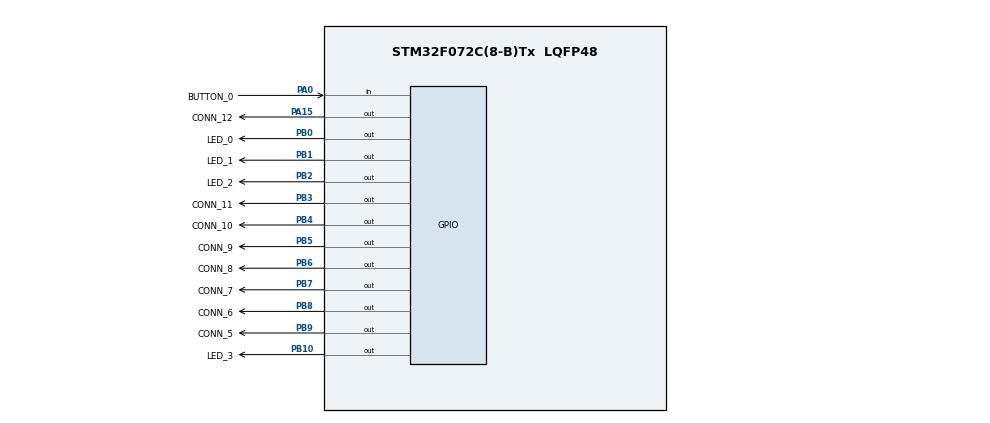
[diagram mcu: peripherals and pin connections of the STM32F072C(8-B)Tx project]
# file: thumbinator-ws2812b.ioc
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Mcu.Family=STM32F0
Mcu.Name=STM32F072C(8-B)Tx
Mcu.Package=LQFP48
PA0.GPIO_Label=BUTTON_0
PA0.GPIO_PuPd=GPIO_PULLUP
PA0.Signal=GPIO_Input
PA13.Mode=Serial_Wire
PA13.Signal=SYS_SWDIO
PA14.Mode=Serial_Wire
PA14.Signal=SYS_SWCLK
PA15.GPIO_Label=CONN_12
PA15.Signal=GPIO_Output
PB0.GPIO_Label=LED_0
PB0.Signal=GPIO_Output
PB1.GPIO_Label=LED_1
PB1.Signal=GPIO_Output
PB10.GPIO_Label=LED_3
PB10.Signal=GPIO_Output
PB2.GPIO_Label=LED_2
PB2.Signal=GPIO_Output
PB3.GPIO_Label=CONN_11
PB3.Signal=GPIO_Output
PB4.GPIO_Label=CONN_10
PB4.Signal=GPIO_Output
PB5.GPIO_Label=CONN_9
PB5.Signal=GPIO_Output
PB6.GPIO_Label=CONN_8
PB6.Signal=GPIO_Output
PB7.GPIO_Label=CONN_7
PB7.Signal=GPIO_Output
PB8.GPIO_Label=CONN_6
PB8.Signal=GPIO_Output
PB9.GPIO_Label=CONN_5
PB9.Signal=GPIO_Output
ProjectManager.HeapSize=0x200
ProjectManager.StackSize=0x400
ProjectManager.TargetToolchain=SW4STM32
board=thumbinator-ws2812b

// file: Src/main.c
/**
  ******************************************************************************
  * File Name          : main.c
  * Description        : Main program body
  ******************************************************************************
  ** This notice applies to any and all portions of this file
  * that are not between comment pairs USER CODE BEGIN and
  * USER CODE END. Other portions of this file, whether
  * inserted by the user or by software development tools
  * are owned by their respective copyright owners.
  *
  * COPYRIGHT(c) 2017 STMicroelectronics
  *
  * Redistribution and use in source and binary forms, with or without modification,
  * are permitted provided that the following conditions are met:
  *   1. Redistributions of source code must retain the above copyright notice,
  *      this list of conditions and the following disclaimer.
  *   2. Redistributions in binary form must reproduce the above copyright notice,
  *      this list of conditions and the following disclaimer in the documentation
  *      and/or other materials provided with the distribution.
  *   3. Neither the name of STMicroelectronics nor the names of its contributors
  *      may be used to endorse or promote products derived from this software
  *      without specific prior written permission.
  *
  * THIS SOFTWARE IS PROVIDED BY THE COPYRIGHT HOLDERS AND CONTRIBUTORS "AS IS"
  * AND ANY EXPRESS OR IMPLIED WARRANTIES, INCLUDING, BUT NOT LIMITED TO, THE
  * IMPLIED WARRANTIES OF MERCHANTABILITY AND FITNESS FOR A PARTICULAR PURPOSE ARE
  * DISCLAIMED. IN NO EVENT SHALL THE COPYRIGHT HOLDER OR CONTRIBUTORS BE LIABLE
  * FOR ANY DIRECT, INDIRECT, INCIDENTAL, SPECIAL, EXEMPLARY, OR CONSEQUENTIAL
  * DAMAGES (INCLUDING, BUT NOT LIMITED TO, PROCUREMENT OF SUBSTITUTE GOODS OR
  * SERVICES; LOSS OF USE, DATA, OR PROFITS; OR BUSINESS INTERRUPTION) HOWEVER
  * CAUSED AND ON ANY THEORY OF LIABILITY, WHETHER IN CONTRACT, STRICT LIABILITY,
  * OR TORT (INCLUDING NEGLIGENCE OR OTHERWISE) ARISING IN ANY WAY OUT OF THE USE
  * OF THIS SOFTWARE, EVEN IF ADVISED OF THE POSSIBILITY OF SUCH DAMAGE.
  *
  ******************************************************************************
  */
#include "main.h"
#include "stm32f0xx_hal.h"

/* USER CODE BEGIN Includes */
#include <stdbool.h>
#include <stdint.h>

#include "gpio_fast.h"
#include "effect.h"

/* USER CODE END Includes */

/* USER CODE BEGIN PV */
/* Private variables ---------------------------------------------------------*/

/* USER CODE END PV */

void SystemClock_Config(void);
static void MX_GPIO_Init(void);

/* USER CODE BEGIN PFP */
/* Private function prototypes -----------------------------------------------*/

/* USER CODE END PFP */

/* USER CODE BEGIN 0 */

static void next_led(void) {
  static int i = 0;
  i = (i + 1) % 16;
  HAL_GPIO_WritePin(LED_0_GPIO_Port, LED_0_Pin, (i & 1) ? GPIO_PIN_SET : GPIO_PIN_RESET);
  HAL_GPIO_WritePin(LED_1_GPIO_Port, LED_1_Pin, (i & 2) ? GPIO_PIN_SET : GPIO_PIN_RESET);
  HAL_GPIO_WritePin(LED_2_GPIO_Port, LED_2_Pin, (i & 4) ? GPIO_PIN_SET : GPIO_PIN_RESET);
}

/* USER CODE END 0 */

int main(void)
{

  /* MCU Configuration----------------------------------------------------------*/

  /* Reset of all peripherals, Initializes the Flash interface and the Systck. */
  HAL_Init();

  /* Configure the system clock */
  SystemClock_Config();

  /* Initialize all configured peripherals */
  MX_GPIO_Init();

  /* Infinite loop */
  /* USER CODE BEGIN WHILE */

  static uint32_t t = 0;
  while (1)
  {
  /* USER CODE END WHILE */

  /* USER CODE BEGIN 3 */
    t++;
    next_led();
    effect_show(t);

    if (t % 1000 == 0)
      effect_next();

  }
  /* USER CODE END 3 */

}

/** System Clock Configuration
*/
void SystemClock_Config(void)
{

  RCC_OscInitTypeDef RCC_OscInitStruct;
  RCC_ClkInitTypeDef RCC_ClkInitStruct;

    /**Initializes the CPU, AHB and APB busses clocks
    */
  RCC_OscInitStruct.OscillatorType = RCC_OSCILLATORTYPE_HSI48;
  RCC_OscInitStruct.HSI48State = RCC_HSI48_ON;
  RCC_OscInitStruct.PLL.PLLState = RCC_PLL_NONE;
  if (HAL_RCC_OscConfig(&RCC_OscInitStruct) != HAL_OK)
  {
    _Error_Handler(__FILE__, __LINE__);
  }

    /**Initializes the CPU, AHB and APB busses clocks
    */
  RCC_ClkInitStruct.ClockType = RCC_CLOCKTYPE_HCLK|RCC_CLOCKTYPE_SYSCLK
                              |RCC_CLOCKTYPE_PCLK1;
  RCC_ClkInitStruct.SYSCLKSource = RCC_SYSCLKSOURCE_HSI48;
  RCC_ClkInitStruct.AHBCLKDivider = RCC_SYSCLK_DIV1;
  RCC_ClkInitStruct.APB1CLKDivider = RCC_HCLK_DIV1;

  if (HAL_RCC_ClockConfig(&RCC_ClkInitStruct, FLASH_LATENCY_1) != HAL_OK)
  {
    _Error_Handler(__FILE__, __LINE__);
  }

    /**Configure the Systick interrupt time
    */
  HAL_SYSTICK_Config(HAL_RCC_GetHCLKFreq()/1000);

    /**Configure the Systick
    */
  HAL_SYSTICK_CLKSourceConfig(SYSTICK_CLKSOURCE_HCLK);

  /* SysTick_IRQn interrupt configuration */
  HAL_NVIC_SetPriority(SysTick_IRQn, 0, 0);
}

/** Configure pins as
        * Analog
        * Input
        * Output
        * EVENT_OUT
        * EXTI
*/
static void MX_GPIO_Init(void)
{

  GPIO_InitTypeDef GPIO_InitStruct;

  /* GPIO Ports Clock Enable */
  __HAL_RCC_GPIOA_CLK_ENABLE();
  __HAL_RCC_GPIOB_CLK_ENABLE();

  /*Configure GPIO pin Output Level */
  HAL_GPIO_WritePin(GPIOB, LED_0_Pin|LED_1_Pin|LED_2_Pin|LED_3_Pin
                          |CONN_11_Pin|CONN_10_Pin|CONN_9_Pin|CONN_8_Pin
                          |CONN_7_Pin|CONN_6_Pin|CONN_5_Pin, GPIO_PIN_RESET);

  /*Configure GPIO pin Output Level */
  HAL_GPIO_WritePin(CONN_12_GPIO_Port, CONN_12_Pin, GPIO_PIN_RESET);

  /*Configure GPIO pin : BUTTON_0_Pin */
  GPIO_InitStruct.Pin = BUTTON_0_Pin;
  GPIO_InitStruct.Mode = GPIO_MODE_INPUT;
  GPIO_InitStruct.Pull = GPIO_PULLUP;
  HAL_GPIO_Init(BUTTON_0_GPIO_Port, &GPIO_InitStruct);

  /*Configure GPIO pins : LED_0_Pin LED_1_Pin LED_2_Pin LED_3_Pin
                           CONN_11_Pin CONN_10_Pin CONN_9_Pin CONN_8_Pin
                           CONN_7_Pin CONN_6_Pin CONN_5_Pin */
  GPIO_InitStruct.Pin = LED_0_Pin|LED_1_Pin|LED_2_Pin|LED_3_Pin
                          |CONN_11_Pin|CONN_10_Pin|CONN_9_Pin|CONN_8_Pin
                          |CONN_7_Pin|CONN_6_Pin|CONN_5_Pin;
  GPIO_InitStruct.Mode = GPIO_MODE_OUTPUT_PP;
  GPIO_InitStruct.Pull = GPIO_NOPULL;
  GPIO_InitStruct.Speed = GPIO_SPEED_FREQ_HIGH;
  HAL_GPIO_Init(GPIOB, &GPIO_InitStruct);

  /*Configure GPIO pin : CONN_12_Pin */
  GPIO_InitStruct.Pin = CONN_12_Pin;
  GPIO_InitStruct.Mode = GPIO_MODE_OUTPUT_PP;
  GPIO_InitStruct.Pull = GPIO_NOPULL;
  GPIO_InitStruct.Speed = GPIO_SPEED_FREQ_HIGH;
  HAL_GPIO_Init(CONN_12_GPIO_Port, &GPIO_InitStruct);

}

void _Error_Handler(char * file, int line)
{
  while(1)
  {
  }
}

/************************ (C) COPYRIGHT STMicroelectronics *****END OF FILE****/
